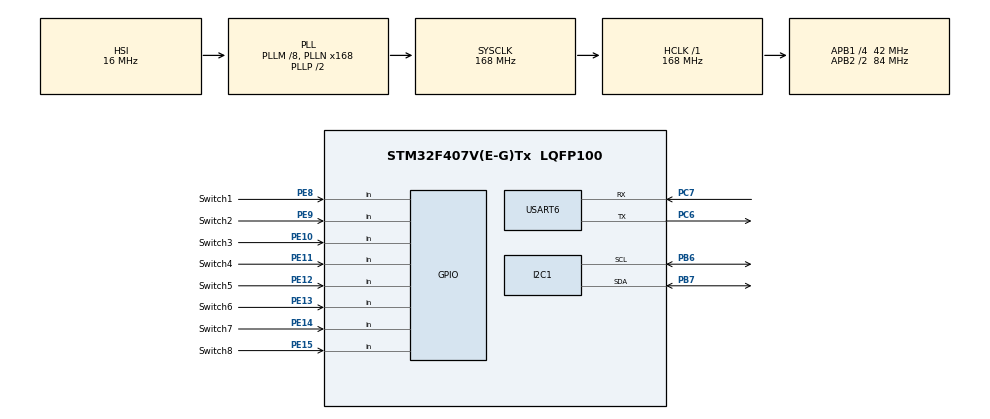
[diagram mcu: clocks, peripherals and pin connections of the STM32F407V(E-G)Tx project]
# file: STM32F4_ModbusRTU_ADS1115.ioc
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Mcu.Family=STM32F4
RCC.CortexFreq_Value=168000000
FREERTOS.Tasks01=ModbusTransTask,1,128,ModbusTransThread,Default,NULL,Dynamic,NULL,NULL;ModbusSetTask,1,128,ModbusSetThread,Default,NULL,Dynamic,NULL,NULL;ADS1115Task,0,128,ADS1115Thread,Default,NULL,Dynamic,NULL,NULL
Dma.USART6_RX.0.PeriphInc=DMA_PINC_DISABLE
PE11.GPIO_Label=Switch4
PC6.Signal=USART6_TX
PE14.GPIO_Label=Switch7
NVIC.DMA2_Stream1_IRQn=true\:5\:0\:false\:false\:true\:true\:false\:true
RCC.APB1CLKDivider=RCC_HCLK_DIV4
RCC.SYSCLKSource=RCC_SYSCLKSOURCE_PLLCLK
ProjectManager.StackSize=0x400
NVIC.USART6_IRQn=true\:5\:0\:true\:false\:true\:true\:true\:true
VP_SYS_VS_tim3.Mode=TIM3
Dma.USART6_RX.0.Instance=DMA2_Stream1
PE15.GPIO_Label=Switch8
Dma.USART6_RX.0.FIFOMode=DMA_FIFOMODE_DISABLE
Dma.USART6_RX.0.Direction=DMA_PERIPH_TO_MEMORY
ProjectManager.TargetToolchain=STM32CubeIDE
PC6.Mode=Asynchronous
RCC.HCLKFreq_Value=168000000
PE8.GPIO_Label=Switch1
RCC.APB2TimFreq_Value=168000000
PB6.Signal=I2C1_SCL
PC7.Signal=USART6_RX
PB6.Mode=I2C
PC7.GPIO_PuPd=GPIO_PULLUP
PE11.Signal=GPIO_Input
RCC.LSE_VALUE=32768
PE9.GPIO_Label=Switch2
RCC.AHBFreq_Value=168000000
RCC.HSE_VALUE=25000000
board=custom
RCC.VCOOutputFreq_Value=336000000
NVIC.TIM3_IRQn=true\:0\:0\:false\:false\:true\:false\:false\:true
RCC.APB2Freq_Value=84000000
PE14.Signal=GPIO_Input
PE15.Signal=GPIO_Input
PE13.Signal=GPIO_Input
PE9.Signal=GPIO_Input
PE8.Signal=GPIO_Input
PB7.Signal=I2C1_SDA
VP_FREERTOS_VS_CMSIS_V1.Mode=CMSIS_V1
PE10.Signal=GPIO_Input
Mcu.Name=STM32F407V(E-G)Tx
PE12.Signal=GPIO_Input
RCC.48MHZClocksFreq_Value=84000000
RCC.SYSCLKFreq_VALUE=168000000
Dma.USART6_RX.0.PeriphDataAlignment=DMA_PDATAALIGN_BYTE
Mcu.Package=LQFP100
PE13.GPIO_Label=Switch6
NVIC.TimeBase=TIM3_IRQn
USART6.VirtualMode=VM_ASYNC
PB7.Mode=I2C
NVIC.TimeBaseIP=TIM3
Dma.USART6_RX.0.Mode=DMA_CIRCULAR
PE12.GPIO_Label=Switch5
ProjectManager.HeapSize=0x200
RCC.HSI_VALUE=16000000
Dma.USART6_RX.0.Priority=DMA_PRIORITY_LOW
Dma.USART6_RX.0.MemDataAlignment=DMA_MDATAALIGN_BYTE
NVIC.PriorityGroup=NVIC_PRIORITYGROUP_4
RCC.APB2CLKDivider=RCC_HCLK_DIV2
Dma.USART6_RX.0.MemInc=DMA_MINC_ENABLE
RCC.PLLM=8
RCC.PLLN=168
RCC.APB1TimFreq_Value=84000000
PC7.Mode=Asynchronous
PE10.GPIO_Label=Switch3
Dma.Request0=USART6_RX
RCC.APB1Freq_Value=42000000

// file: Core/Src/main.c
/* USER CODE BEGIN Header */
/**
  ******************************************************************************
  * @file           : main.c
  * @brief          : Main program body
  ******************************************************************************
  * @attention
  *
  * <h2><center>&copy; Copyright (c) 2020 STMicroelectronics.
  * All rights reserved.</center></h2>
  *
  * This software component is licensed by ST under BSD 3-Clause license,
  * the "License"; You may not use this file except in compliance with the
  * License. You may obtain a copy of the License at:
  *                        opensource.org/licenses/BSD-3-Clause
  *
  ******************************************************************************
  */
/* USER CODE END Header */

#include "main.h"
#include "cmsis_os.h"

/* USER CODE BEGIN Includes */
#include "modbus.h"
#include "Delay.h"
#include <stdio.h>
#include <math.h>
#include "ads1115.h"
/* USER CODE END Includes */

/* USER CODE BEGIN PTD */

uint8_t rxbuffer[255];
uint8_t ADS1115_ADDRESS = 0x48;
unsigned char ADSwrite[6];
unsigned char ADS1115_ADDRES[4];
int16_t reading;
int16_t result;
float voltageT[4];
const float voltageConv = 6.114 / 32768.0;
const float currentConv = 16 / 16384;
/* USER CODE END PTD */

/* USER CODE BEGIN PD */
typedef enum
{
  Switch_Off    = 0x00U,
  Switch_On       = 0x01U,
} SwitchStatus;

typedef enum
{
  differentialMode    = 0x00U,
  singleEndMode       = 0x01U,
} ads1115QeuryMode;

/* USER CODE END PD */

I2C_HandleTypeDef hi2c1;

UART_HandleTypeDef huart6;
DMA_HandleTypeDef hdma_usart6_rx;

osThreadId ModbusTransTaskHandle;
osThreadId ModbusSetTaskHandle;
osThreadId ADS1115TaskHandle;
/* USER CODE BEGIN PV */
uint8_t SLAVEID[8];
uint8_t ADCVALUE[16];
uint8_t slaveID = 0;
uint8_t SwitchValue[8];

float voltage = 0;
/* USER CODE END PV */

void SystemClock_Config(void);
static void MX_GPIO_Init(void);
static void MX_DMA_Init(void);
static void MX_USART6_UART_Init(void);
static void MX_I2C1_Init(void);
void ModbusTransThread(void const * argument);
void ModbusSetThread(void const * argument);
void ADS1115Thread(void const * argument);

int main(void)
{

  /* MCU Configuration--------------------------------------------------------*/

  /* Reset of all peripherals, Initializes the Flash interface and the Systick. */
  HAL_Init();

  //111

  /* Configure the system clock */
  SystemClock_Config();

  /* Initialize all configured peripherals */
  MX_GPIO_Init();
  MX_DMA_Init();
  MX_USART6_UART_Init();
  MX_I2C1_Init();
  /* USER CODE BEGIN 2 */
  delay_init(10);

  //TODO: read DIP switch
  SwitchValue[0] = HAL_GPIO_ReadPin(GPIOE, Switch1_Pin);
  SwitchValue[1] = HAL_GPIO_ReadPin(GPIOE, Switch2_Pin);
  SwitchValue[2] = HAL_GPIO_ReadPin(GPIOE, Switch3_Pin);
  SwitchValue[3] = HAL_GPIO_ReadPin(GPIOE, Switch4_Pin);
  SwitchValue[4] = HAL_GPIO_ReadPin(GPIOE, Switch5_Pin);
  SwitchValue[5] = HAL_GPIO_ReadPin(GPIOE, Switch6_Pin);
  SwitchValue[6] = HAL_GPIO_ReadPin(GPIOE, Switch7_Pin);
  SwitchValue[7] = HAL_GPIO_ReadPin(GPIOE, Switch8_Pin);

  //TODO: converter DIP switch to modbus slave using binary
  for(uint8_t i = 0; i <8; i++)
  {
	  slaveID += SwitchValue[i] * pow(2,i);
  }

  delay_ms(1);

 //ADCstatus =  HAL_ADC_Stop_DMA(&hadc1);

  //HAL_UART_Receive_DMA(&huart6, rxbuffer, 8);
  __HAL_UART_ENABLE_IT(&huart6, UART_IT_IDLE);
  //set DMA receive, transmit 255 word every time.
  HAL_UART_Receive_DMA(&huart6, (uint8_t*)rxbuffer, 255);

  ADS1115_ADDRES[0] = ADS1115_ADDRESS_ADDR_GND;
  ADS1115_ADDRES[1] = ADS1115_ADDRESS_ADDR_VDD;
  ADS1115_ADDRES[2] = ADS1115_ADDRESS_ADDR_SDA;
  ADS1115_ADDRES[3] = ADS1115_ADDRESS_ADDR_SCL;
  /* USER CODE END 2 */

  /* Create the thread(s) */
  /* definition and creation of ModbusTransTask */
  osThreadDef(ModbusTransTask, ModbusTransThread, osPriorityAboveNormal, 0, 128);
  ModbusTransTaskHandle = osThreadCreate(osThread(ModbusTransTask), NULL);

  /* definition and creation of ModbusSetTask */
  osThreadDef(ModbusSetTask, ModbusSetThread, osPriorityAboveNormal, 0, 128);
  ModbusSetTaskHandle = osThreadCreate(osThread(ModbusSetTask), NULL);

  /* definition and creation of ADS1115Task */
  osThreadDef(ADS1115Task, ADS1115Thread, osPriorityNormal, 0, 128);
  ADS1115TaskHandle = osThreadCreate(osThread(ADS1115Task), NULL);

  /* USER CODE BEGIN RTOS_THREADS */
  ModBus_Init();
  ModBus_SetAddress(slaveID);
  /* add threads, ... */
  /* USER CODE END RTOS_THREADS */

  /* Start scheduler */
  osKernelStart();

  /* We should never get here as control is now taken by the scheduler */
  /* Infinite loop */
  while (1)
  {

  }
}

void SystemClock_Config(void)
{
  RCC_OscInitTypeDef RCC_OscInitStruct = {0};
  RCC_ClkInitTypeDef RCC_ClkInitStruct = {0};

  /** Configure the main internal regulator output voltage
  */
  __HAL_RCC_PWR_CLK_ENABLE();
  __HAL_PWR_VOLTAGESCALING_CONFIG(PWR_REGULATOR_VOLTAGE_SCALE1);
  /** Initializes the CPU, AHB and APB busses clocks
  */
  RCC_OscInitStruct.OscillatorType = RCC_OSCILLATORTYPE_HSI;
  RCC_OscInitStruct.HSIState = RCC_HSI_ON;
  RCC_OscInitStruct.HSICalibrationValue = RCC_HSICALIBRATION_DEFAULT;
  RCC_OscInitStruct.PLL.PLLState = RCC_PLL_ON;
  RCC_OscInitStruct.PLL.PLLSource = RCC_PLLSOURCE_HSI;
  RCC_OscInitStruct.PLL.PLLM = 8;
  RCC_OscInitStruct.PLL.PLLN = 168;
  RCC_OscInitStruct.PLL.PLLP = RCC_PLLP_DIV2;
  RCC_OscInitStruct.PLL.PLLQ = 4;
  if (HAL_RCC_OscConfig(&RCC_OscInitStruct) != HAL_OK)
  {
    Error_Handler();
  }
  /** Initializes the CPU, AHB and APB busses clocks
  */
  RCC_ClkInitStruct.ClockType = RCC_CLOCKTYPE_HCLK|RCC_CLOCKTYPE_SYSCLK
                              |RCC_CLOCKTYPE_PCLK1|RCC_CLOCKTYPE_PCLK2;
  RCC_ClkInitStruct.SYSCLKSource = RCC_SYSCLKSOURCE_PLLCLK;
  RCC_ClkInitStruct.AHBCLKDivider = RCC_SYSCLK_DIV1;
  RCC_ClkInitStruct.APB1CLKDivider = RCC_HCLK_DIV4;
  RCC_ClkInitStruct.APB2CLKDivider = RCC_HCLK_DIV2;

  if (HAL_RCC_ClockConfig(&RCC_ClkInitStruct, FLASH_LATENCY_5) != HAL_OK)
  {
    Error_Handler();
  }
}

static void MX_I2C1_Init(void)
{

  hi2c1.Instance = I2C1;
  hi2c1.Init.ClockSpeed = 100000;
  hi2c1.Init.DutyCycle = I2C_DUTYCYCLE_2;
  hi2c1.Init.OwnAddress1 = 0;
  hi2c1.Init.AddressingMode = I2C_ADDRESSINGMODE_7BIT;
  hi2c1.Init.DualAddressMode = I2C_DUALADDRESS_DISABLE;
  hi2c1.Init.OwnAddress2 = 0;
  hi2c1.Init.GeneralCallMode = I2C_GENERALCALL_DISABLE;
  hi2c1.Init.NoStretchMode = I2C_NOSTRETCH_DISABLE;
  if (HAL_I2C_Init(&hi2c1) != HAL_OK)
  {
    Error_Handler();
  }

}

static void MX_USART6_UART_Init(void)
{

  huart6.Instance = USART6;
  huart6.Init.BaudRate = 115200;
  huart6.Init.WordLength = UART_WORDLENGTH_8B;
  huart6.Init.StopBits = UART_STOPBITS_1;
  huart6.Init.Parity = UART_PARITY_NONE;
  huart6.Init.Mode = UART_MODE_TX_RX;
  huart6.Init.HwFlowCtl = UART_HWCONTROL_NONE;
  huart6.Init.OverSampling = UART_OVERSAMPLING_16;
  if (HAL_UART_Init(&huart6) != HAL_OK)
  {
    Error_Handler();
  }

}

static void MX_DMA_Init(void)
{

  /* DMA controller clock enable */
  __HAL_RCC_DMA2_CLK_ENABLE();

  /* DMA interrupt init */
  /* DMA2_Stream1_IRQn interrupt configuration */
  HAL_NVIC_SetPriority(DMA2_Stream1_IRQn, 5, 0);
  HAL_NVIC_EnableIRQ(DMA2_Stream1_IRQn);

}

static void MX_GPIO_Init(void)
{
  GPIO_InitTypeDef GPIO_InitStruct = {0};

  /* GPIO Ports Clock Enable */
  __HAL_RCC_GPIOE_CLK_ENABLE();
  __HAL_RCC_GPIOC_CLK_ENABLE();
  __HAL_RCC_GPIOB_CLK_ENABLE();

  /*Configure GPIO pins : Switch1_Pin Switch2_Pin Switch3_Pin Switch4_Pin
                           Switch5_Pin Switch6_Pin Switch7_Pin Switch8_Pin */
  GPIO_InitStruct.Pin = Switch1_Pin|Switch2_Pin|Switch3_Pin|Switch4_Pin
                          |Switch5_Pin|Switch6_Pin|Switch7_Pin|Switch8_Pin;
  GPIO_InitStruct.Mode = GPIO_MODE_INPUT;
  GPIO_InitStruct.Pull = GPIO_NOPULL;
  HAL_GPIO_Init(GPIOE, &GPIO_InitStruct);

}

/* USER CODE BEGIN 4 */
void USER_UART_IRQHandler(UART_HandleTypeDef *huart)
{
	if(huart->Instance == USART6)
    {
        if(RESET != __HAL_UART_GET_FLAG(&huart6, UART_FLAG_IDLE))   //Idle interrupt case.
        {
            __HAL_UART_CLEAR_IDLEFLAG(&huart6);                     //clear idle flag, or process will trigger idle interrupt process.
            //printf("\r\nUART6 Idle IQR Detected\r\n");
            USAR_UART_IDLECallback(huart);                          //Idle interrupt callback
        }
    }
}

void USAR_UART_IDLECallback(UART_HandleTypeDef *huart)
{
	//STOP DMA
    HAL_UART_DMAStop(&huart6);

    uint8_t data_length  = 255 - __HAL_DMA_GET_COUNTER(&hdma_usart6_rx);   //计算接收到的数据长度

    if (rxbuffer[0]==slaveID)
	{
		// if slaveID match, put rxbuffer to ModBusInHandle
		for(int i=0;i<data_length;i++)
			osMessagePut(ModBusInHandle,rxbuffer[i], data_length);
	}else{
		// if uart RX_ID no match slaveID(switch on board), reset rxbuffer
		memset(rxbuffer,0,data_length);
		data_length = 0;
		HAL_Delay(10);
	}

    //restart DMA and transmit 255 word per times.
    HAL_UART_Receive_DMA(&huart6, (uint8_t*)rxbuffer, 255);
}

/* USER CODE END 4 */

void ModbusTransThread(void const * argument)
{
  /* USER CODE BEGIN 5 */
	  uint8_t buf[256]; // buffer, where we collect output data
	  uint8_t c = 0; // counter for buffer fill
	  uint8_t count = 0;
  /* Infinite loop */
  for(;;)
  {
	 // ModBus_SetRegister(0,5+1);

    osEvent evt = osMessageGet(ModBusOutHandle, 20); // wait here 200 tick
    if (evt.status == osEventMessage)
    {
        buf[c++]=(uint8_t) evt.value.v;
    }
    if (evt.status == osEventTimeout)
    {
        if( (c > 0) && (c < 254) ) // ok, something in buffer exist, lets send it
        {
        	HAL_StatusTypeDef AA = HAL_UART_Transmit(&huart6, buf, c, 50); // by USB-CDC
        }
        c=0;
    }

    osDelay(1);
  }
  /* USER CODE END 5 */
}

void ModbusSetThread(void const * argument)
{
  /* USER CODE BEGIN ModbusSetThread */
  /* Infinite loop */
  for(;;)
  {
	ModBus_SetRegister(0,(int)Convert2Modbus(ADS1115_ADDRESS_ADDR_GND_BOARD.ADS1115_CH1.data));
	ModBus_SetRegister(1,(int)Convert2Modbus(ADS1115_ADDRESS_ADDR_GND_BOARD.ADS1115_CH2.data));
	ModBus_SetRegister(2,(int)Convert2Modbus(ADS1115_ADDRESS_ADDR_VDD_BOARD.ADS1115_CH1.data));
	ModBus_SetRegister(3,(int)Convert2Modbus(ADS1115_ADDRESS_ADDR_VDD_BOARD.ADS1115_CH2.data));
	ModBus_SetRegister(4,(int)Convert2Modbus(ADS1115_ADDRESS_ADDR_SDA_BOARD.ADS1115_CH1.data));
	ModBus_SetRegister(5,(int)Convert2Modbus(ADS1115_ADDRESS_ADDR_SDA_BOARD.ADS1115_CH2.data));
	ModBus_SetRegister(6,(int)Convert2Modbus(ADS1115_ADDRESS_ADDR_SCL_BOARD.ADS1115_CH1.data));
	ModBus_SetRegister(7,(int)Convert2Modbus(ADS1115_ADDRESS_ADDR_SCL_BOARD.ADS1115_CH2.data));

    osDelay(1);
  }
  /* USER CODE END ModbusSetThread */
}

void ADS1115Thread(void const * argument)
{
  /* USER CODE BEGIN ADS1115Thread */
  /* Infinite loop */
  for(;;)
  {

	  uint8_t ADS1115_ADDRESS_ADDR = 0;
	  for( int j = ADS1115_ADDRESS_ADDR_GND; j <= ADS1115_ADDRESS_ADDR_SCL; j++) {
		  	  switch(j)
			  {
				  case(ADS1115_ADDRESS_ADDR_GND):
					ADS1115_ADDRESS_ADDR = ADS1115_ADDRESS_ADDR_GND; // 10000001 CH0+ CH1
					Read_ads1115(&ADS1115_ADDRESS_ADDR_GND_BOARD, ADS1115_ADDRESS_ADDR);
					break;
				  case(ADS1115_ADDRESS_ADDR_VDD):
					ADS1115_ADDRESS_ADDR = ADS1115_ADDRESS_ADDR_VDD; // 10000001 CH1+ CH2
					Read_ads1115(&ADS1115_ADDRESS_ADDR_VDD_BOARD, ADS1115_ADDRESS_ADDR);
					break;
				  case(ADS1115_ADDRESS_ADDR_SDA):
					ADS1115_ADDRESS_ADDR = ADS1115_ADDRESS_ADDR_SDA; // 10000001 CH3+ CH4
					Read_ads1115(&ADS1115_ADDRESS_ADDR_SDA_BOARD, ADS1115_ADDRESS_ADDR);
					break;
				  case(ADS1115_ADDRESS_ADDR_SCL):
					ADS1115_ADDRESS_ADDR = ADS1115_ADDRESS_ADDR_SCL; // 10000001 CH5+ CH6
					Read_ads1115(&ADS1115_ADDRESS_ADDR_SCL_BOARD, ADS1115_ADDRESS_ADDR);
					break;
		  }
	  }
	  osDelay(1);
  }
  /* USER CODE END ADS1115Thread */
}

 /**
  * @brief  Period elapsed callback in non blocking mode
  * @note   This function is called  when TIM3 interrupt took place, inside
  * HAL_TIM_IRQHandler(). It makes a direct call to HAL_IncTick() to increment
  * a global variable "uwTick" used as application time base.
  * @param  htim : TIM handle
  * @retval None
  */
void HAL_TIM_PeriodElapsedCallback(TIM_HandleTypeDef *htim)
{
  if (htim->Instance == TIM3) {
    HAL_IncTick();
  }
}

void Error_Handler(void)
{
}

/************************ (C) COPYRIGHT STMicroelectronics *****END OF FILE****/
